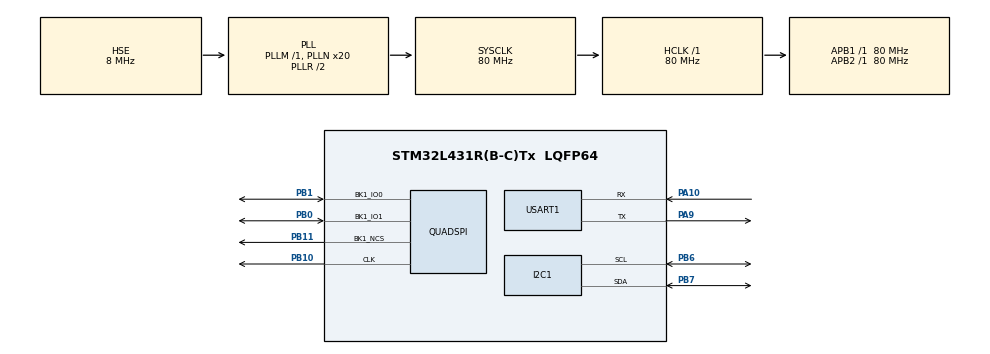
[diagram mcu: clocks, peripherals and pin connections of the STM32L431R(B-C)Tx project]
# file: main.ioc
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I2C1.Timing=0x10909CEC
Mcu.Family=STM32L4
Mcu.Name=STM32L431R(B-C)Tx
Mcu.Package=LQFP64
NVIC.PriorityGroup=NVIC_PRIORITYGROUP_4
PA10.Mode=Asynchronous
PA10.Signal=USART1_RX
PA9.Mode=Asynchronous
PA9.Signal=USART1_TX
PB0.Mode=Single Bank 1 2IOs
PB0.Signal=QUADSPI_BK1_IO1
PB1.Mode=Single Bank 1 2IOs
PB1.Signal=QUADSPI_BK1_IO0
PB10.Mode=Single Bank 1 2IOs
PB10.Signal=QUADSPI_CLK
PB11.Mode=Single Bank 1 2IOs
PB11.Signal=QUADSPI_BK1_NCS
PB6.Mode=I2C
PB6.Signal=I2C1_SCL
PB7.Mode=I2C
PB7.Signal=I2C1_SDA
PH0-OSC_IN\ (PH0).Mode=HSE-External-Oscillator
PH0-OSC_IN\ (PH0).Signal=RCC_OSC_IN
PH1-OSC_OUT\ (PH1).Mode=HSE-External-Oscillator
PH1-OSC_OUT\ (PH1).Signal=RCC_OSC_OUT
ProjectManager.HeapSize=0x200
ProjectManager.StackSize=0x400
ProjectManager.TargetToolchain=MDK-ARM V5
QUADSPI.ChipSelectHighTime=QSPI_CS_HIGH_TIME_4_CYCLE
QUADSPI.ClockPrescaler=0
QUADSPI.FifoThreshold=4
QUADSPI.FlashSize=22
RCC.ADCFreq_Value=32000000
RCC.AHBFreq_Value=80000000
RCC.APB1Freq_Value=80000000
RCC.APB1TimFreq_Value=80000000
RCC.APB2Freq_Value=80000000
RCC.APB2TimFreq_Value=80000000
RCC.CortexFreq_Value=80000000
RCC.HCLKFreq_Value=80000000
RCC.HSE_VALUE=8000000
RCC.HSI48_VALUE=48000000
RCC.HSI_VALUE=16000000
RCC.LSE_VALUE=32768
RCC.MSI_VALUE=4000000
RCC.PLLN=20
RCC.PLLSourceVirtual=RCC_PLLSOURCE_HSE
RCC.SYSCLKFreq_VALUE=80000000
RCC.SYSCLKSource=RCC_SYSCLKSOURCE_PLLCLK
RCC.VCOOutputFreq_Value=160000000
USART1.VirtualMode-Asynchronous=VM_ASYNC
board=custom

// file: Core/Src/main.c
/* USER CODE BEGIN Header */
/**
  ******************************************************************************
  * @file           : main.c
  * @brief          : Main program body
  ******************************************************************************
  * @attention
  *
  * <h2><center>&copy; Copyright (c) 2021 STMicroelectronics.
  * All rights reserved.</center></h2>
  *
  * This software component is licensed by ST under BSD 3-Clause license,
  * the "License"; You may not use this file except in compliance with the
  * License. You may obtain a copy of the License at:
  *                        opensource.org/licenses/BSD-3-Clause
  *
  ******************************************************************************
  */
/* USER CODE END Header */
#include "main.h"
#include "i2c.h"
#include "quadspi.h"
#include "usart.h"
#include "gpio.h"

/* USER CODE BEGIN Includes */
#include "at24c02_i2c_drv.h"
#include "bsp_w25q64.h"
/* USER CODE END Includes */

/* USER CODE BEGIN PTD */
typedef struct
{
    //LED状态
    uint8_t led_status ;
    //电机状态
    uint8_t motor_status ;
    //蜂鸣器状态
    uint8_t buzzer_status ;
    //网络状态
    uint8_t network_status ;
    //语言版本
    uint8_t language_version ;
    //设备密码
    uint8_t device_password[4] ;
    //报警阈值1
    uint16_t alarm_threshold1 ;
    //报警阈值2
    uint16_t alarm_threshold2 ;
    //报警阈值3
    uint16_t alarm_threshold3 ;
} System_Param ;
System_Param device_system_para ;
System_Param device_system_para_cpy ;

//测试w25q64 spi flash
void test_w25q64_flash(void)
{
		uint8_t index = 0 ;
    uint16_t device_id ;
    device_id = W25QXX_ReadID();
    printf("device_id = 0x%04X\r\n\r\n", device_id);
    printf("加载之前FLASH的数据:\n");
    W25QXX_Read((uint8_t *)&device_system_para_cpy, 0, sizeof(System_Param));
    printf("开始读取系统参数\n");
    printf("led_status=%d\n", device_system_para_cpy.led_status);
    printf("motor_status=%d\n", device_system_para_cpy.motor_status);
    printf("buzzer_status=%d\n", device_system_para_cpy.buzzer_status);
    printf("network_status=%d\n", device_system_para_cpy.network_status);
    printf("language_version=%d\n", device_system_para_cpy.language_version);
    printf("language_version=%d\n", device_system_para_cpy.language_version);
    printf("password=%d%d%d%d\n", device_system_para_cpy.device_password[0], \
           device_system_para_cpy.device_password[1], device_system_para_cpy.device_password[2], \
           device_system_para_cpy.device_password[3]);
    printf("alarm_threshold1=%d\n", device_system_para_cpy.alarm_threshold1);
    printf("alarm_threshold2=%d\n", device_system_para_cpy.alarm_threshold2);
    printf("alarm_threshold3=%d\n", device_system_para_cpy.alarm_threshold3);

    /* 擦除该扇区 */
    printf("-------- erase sector 0 -----------\r\n");
    W25QXX_Erase_Sector(0);

		printf("加载擦除扇区后的数据:\n");
    W25QXX_Read((uint8_t *)&device_system_para_cpy, 0, sizeof(System_Param));
    printf("开始读取系统参数\n");
    printf("led_status=%d\n", device_system_para_cpy.led_status);
    printf("motor_status=%d\n", device_system_para_cpy.motor_status);
    printf("buzzer_status=%d\n", device_system_para_cpy.buzzer_status);
    printf("network_status=%d\n", device_system_para_cpy.network_status);
    printf("language_version=%d\n", device_system_para_cpy.language_version);
    printf("language_version=%d\n", device_system_para_cpy.language_version);
    printf("password=%d%d%d%d\n", device_system_para_cpy.device_password[0], \
           device_system_para_cpy.device_password[1], device_system_para_cpy.device_password[2], \
           device_system_para_cpy.device_password[3]);
    printf("alarm_threshold1=%d\n", device_system_para_cpy.alarm_threshold1);
    printf("alarm_threshold2=%d\n", device_system_para_cpy.alarm_threshold2);
    printf("alarm_threshold3=%d\n", device_system_para_cpy.alarm_threshold3);

    /* 写数据 */
    printf("开始写入数据\r\n");
		device_system_para.led_status = 0 ;
    device_system_para.motor_status = 1 ;
    device_system_para.buzzer_status = 1 ;
    device_system_para.network_status = 0 ;
    device_system_para.language_version = 1 ;

    for(index = 0 ; index < 4 ; index++)
        device_system_para.device_password[index] = 2 ;

    device_system_para.alarm_threshold1 = 1000 ;
    device_system_para.alarm_threshold2 = 1200 ;
    device_system_para.alarm_threshold3 = 1500 ;
    W25QXX_Page_Program((uint8_t *)&device_system_para, 0, sizeof(device_system_para));

    /* 再次读数据 */
    printf("加载写入扇区后的数据:\n");
    W25QXX_Read((uint8_t *)&device_system_para_cpy, 0, sizeof(System_Param));
    printf("开始读取系统参数\n");
    printf("led_status=%d\n", device_system_para_cpy.led_status);
    printf("motor_status=%d\n", device_system_para_cpy.motor_status);
    printf("buzzer_status=%d\n", device_system_para_cpy.buzzer_status);
    printf("network_status=%d\n", device_system_para_cpy.network_status);
    printf("language_version=%d\n", device_system_para_cpy.language_version);
    printf("language_version=%d\n", device_system_para_cpy.language_version);
    printf("password=%d%d%d%d\n", device_system_para_cpy.device_password[0], \
           device_system_para_cpy.device_password[1], device_system_para_cpy.device_password[2], \
           device_system_para_cpy.device_password[3]);
    printf("alarm_threshold1=%d\n", device_system_para_cpy.alarm_threshold1);
    printf("alarm_threshold2=%d\n", device_system_para_cpy.alarm_threshold2);
    printf("alarm_threshold3=%d\n", device_system_para_cpy.alarm_threshold3);
}
/* USER CODE END PTD */

void SystemClock_Config(void);

int main(void)
{

    /* MCU Configuration--------------------------------------------------------*/

    /* Reset of all peripherals, Initializes the Flash interface and the Systick. */
    HAL_Init();

    /* Configure the system clock */
    SystemClock_Config();

    /* Initialize all configured peripherals */
    MX_GPIO_Init();
    MX_I2C1_Init();
    MX_USART1_UART_Init();
    MX_QUADSPI_Init();
    /* USER CODE BEGIN 2 */
		test_w25q64_flash();
    /* USER CODE END 2 */

    /* Infinite loop */
    while (1)
    {

    }
}

void SystemClock_Config(void)
{
    RCC_OscInitTypeDef RCC_OscInitStruct = {0};
    RCC_ClkInitTypeDef RCC_ClkInitStruct = {0};
    RCC_PeriphCLKInitTypeDef PeriphClkInit = {0};

    /** Initializes the RCC Oscillators according to the specified parameters
    * in the RCC_OscInitTypeDef structure.
    */
    RCC_OscInitStruct.OscillatorType = RCC_OSCILLATORTYPE_HSE;
    RCC_OscInitStruct.HSEState = RCC_HSE_ON;
    RCC_OscInitStruct.PLL.PLLState = RCC_PLL_ON;
    RCC_OscInitStruct.PLL.PLLSource = RCC_PLLSOURCE_HSE;
    RCC_OscInitStruct.PLL.PLLM = 1;
    RCC_OscInitStruct.PLL.PLLN = 20;
    RCC_OscInitStruct.PLL.PLLP = RCC_PLLP_DIV7;
    RCC_OscInitStruct.PLL.PLLQ = RCC_PLLQ_DIV2;
    RCC_OscInitStruct.PLL.PLLR = RCC_PLLR_DIV2;

    if (HAL_RCC_OscConfig(&RCC_OscInitStruct) != HAL_OK)
    {
        Error_Handler();
    }

    /** Initializes the CPU, AHB and APB buses clocks
    */
    RCC_ClkInitStruct.ClockType = RCC_CLOCKTYPE_HCLK | RCC_CLOCKTYPE_SYSCLK
                                  | RCC_CLOCKTYPE_PCLK1 | RCC_CLOCKTYPE_PCLK2;
    RCC_ClkInitStruct.SYSCLKSource = RCC_SYSCLKSOURCE_PLLCLK;
    RCC_ClkInitStruct.AHBCLKDivider = RCC_SYSCLK_DIV1;
    RCC_ClkInitStruct.APB1CLKDivider = RCC_HCLK_DIV1;
    RCC_ClkInitStruct.APB2CLKDivider = RCC_HCLK_DIV1;

    if (HAL_RCC_ClockConfig(&RCC_ClkInitStruct, FLASH_LATENCY_4) != HAL_OK)
    {
        Error_Handler();
    }

    PeriphClkInit.PeriphClockSelection = RCC_PERIPHCLK_USART1 | RCC_PERIPHCLK_I2C1;
    PeriphClkInit.Usart1ClockSelection = RCC_USART1CLKSOURCE_PCLK2;
    PeriphClkInit.I2c1ClockSelection = RCC_I2C1CLKSOURCE_PCLK1;

    if (HAL_RCCEx_PeriphCLKConfig(&PeriphClkInit) != HAL_OK)
    {
        Error_Handler();
    }

    /** Configure the main internal regulator output voltage
    */
    if (HAL_PWREx_ControlVoltageScaling(PWR_REGULATOR_VOLTAGE_SCALE1) != HAL_OK)
    {
        Error_Handler();
    }
}

void Error_Handler(void)
{
}

/************************ (C) COPYRIGHT STMicroelectronics *****END OF FILE****/
